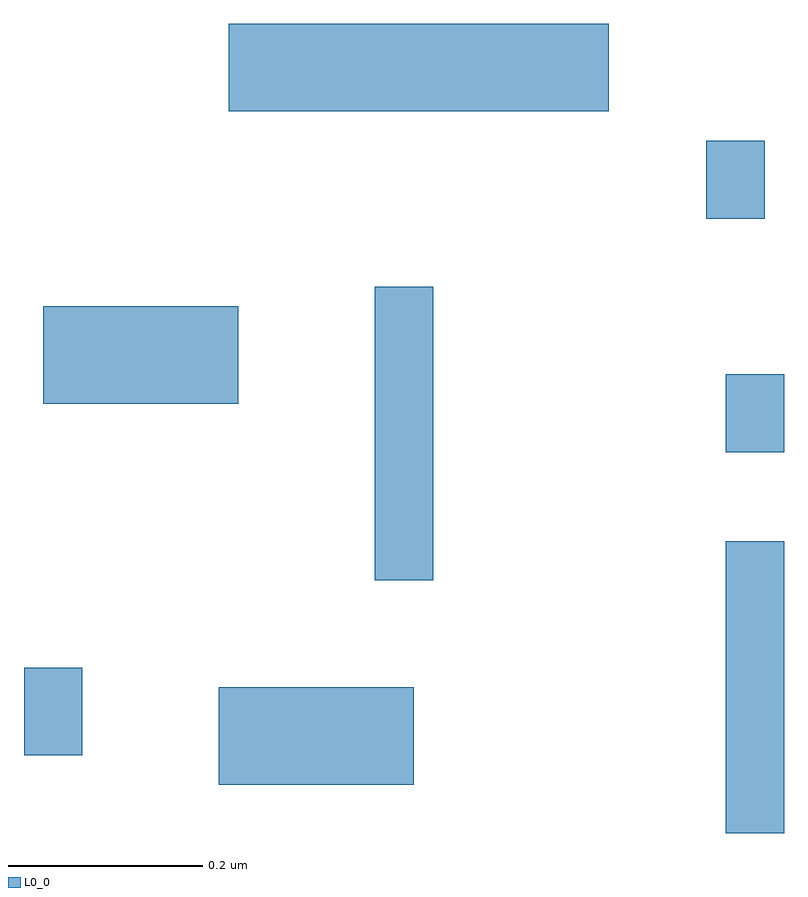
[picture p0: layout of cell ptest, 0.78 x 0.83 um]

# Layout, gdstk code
import gdstk
lib = gdstk.Library(unit=1e-6, precision=1e-09)
def R(c, l, rs):  # rectangles x0, y0, x1, y1
    for r in rs: c.add(gdstk.rectangle(r[:2], r[2:], *l))
L0_0 = (0, 0)

ptest = lib.new_cell('ptest')
R(ptest, L0_0, [(0.381,-0.364,0.441,-0.064), (-0.139,-0.314,0.061,-0.214), (-0.339,-0.284,-0.279,-0.194), (0.021,-0.104,0.081,0.197), (0.381,0.027,0.441,0.107), (-0.319,0.077,-0.119,0.177), (0.361,0.267,0.421,0.347), (-0.129,0.377,0.261,0.467)])

lib.write_gds('ptest.gds')
